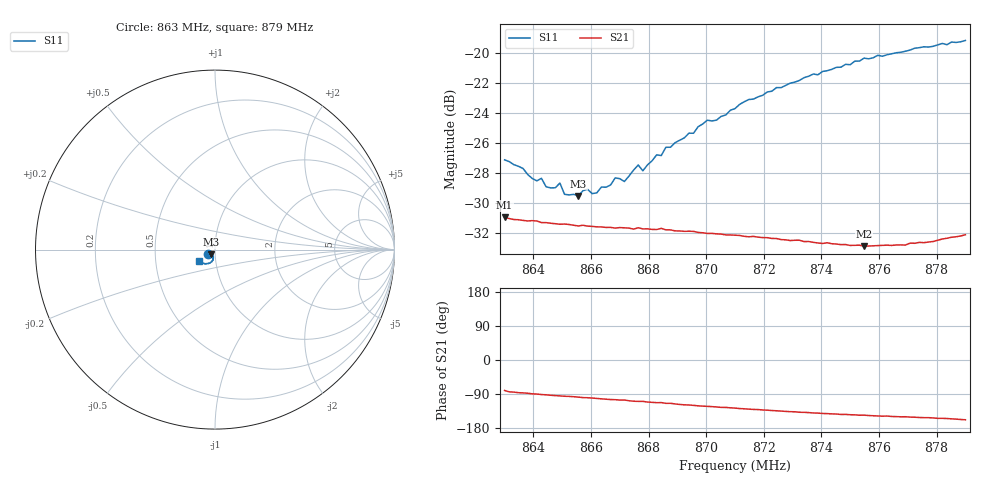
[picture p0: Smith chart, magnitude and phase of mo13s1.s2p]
# HZ S RI R 50
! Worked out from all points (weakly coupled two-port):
!   101 points, 863 MHz to 879 MHz, reference 50 ohm
!   highest |S21| = -30.92 dB at 863 MHz (marker M1); lowest = -32.9 dB at 875.48 MHz (marker M2)
!   lowest |S11| = -29.5 dB at 865.56 MHz (marker M3), VSWR 1.07, Z = 47.9 - j2.5 ohm
!   |S11| at or under -10 dB: start of sweep to end of sweep
!   S12 and S22 are empty: the file has one direction only
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8.63e8  -0.0376 -0.0232  0.00469 -0.0281  0 0  0 0
8.6412e8  -0.029 -0.0239  7.8e-05 -0.0276  0 0  0 0
8.6428e8  -0.0284 -0.0257  -0.000558 -0.0273  0 0  0 0
8.6444e8  -0.0277 -0.0228  -0.000873 -0.0273  0 0  0 0
8.6492e8  -0.025 -0.0272  -0.00224 -0.0268  0 0  0 0
8.6508e8  -0.0224 -0.0255  -0.00265 -0.0268  0 0  0 0
8.6556e8  -0.0209 -0.0261  -0.00368 -0.0263  0 0  0 0
8.6572e8  -0.0188 -0.0293  -0.00428 -0.0264  0 0  0 0
8.662e8  -0.0175 -0.0295  -0.0052 -0.0259  0 0  0 0
8.6684e8  -0.0151 -0.0354  -0.00664 -0.0253  0 0  0 0
8.6716e8  -0.00995 -0.036  -0.00704 -0.0252  0 0  0 0
8.6764e8  -0.0125 -0.0406  -0.00864 -0.0248  0 0  0 0
8.678e8  -0.00902 -0.0396  -0.00853 -0.0245  0 0  0 0
8.6828e8  -0.0097 -0.0448  -0.00993 -0.0239  0 0  0 0
8.6844e8  -0.00861 -0.0448  -0.00993 -0.0241  0 0  0 0
8.686e8  -0.009 -0.0478  -0.0106 -0.0235  0 0  0 0
8.7004e8  -0.0126 -0.0586  -0.0134 -0.0212  0 0  0 0
8.71e8  -0.0163 -0.0634  -0.0149 -0.0198  0 0  0 0
8.7372e8  -0.0351 -0.0778  -0.0179 -0.0151  0 0  0 0
8.7548e8  -0.0535 -0.0803  -0.0188 -0.0129  0 0  0 0
8.7644e8  -0.0641 -0.0764  -0.0196 -0.0118  0 0  0 0
8.79e8  -0.0909 -0.0628  -0.023 -0.00944  0 0  0 0
